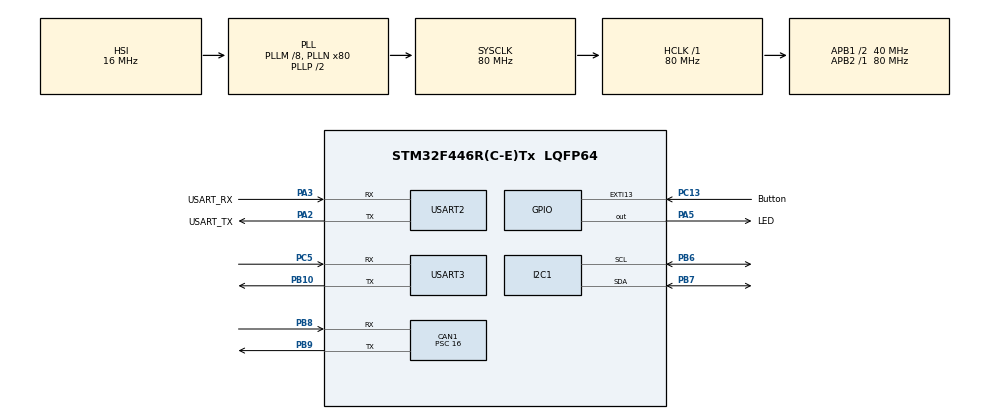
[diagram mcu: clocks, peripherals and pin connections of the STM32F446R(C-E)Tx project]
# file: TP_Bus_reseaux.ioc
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CAN1.BS1=CAN_BS1_2TQ
CAN1.BS2=CAN_BS2_2TQ
CAN1.CalculateBaudRate=500000
CAN1.CalculateTimeBit=2000
CAN1.CalculateTimeQuantum=400.0
CAN1.Prescaler=16
Dma.Request0=USART3_RX
Dma.USART3_RX.0.Direction=DMA_PERIPH_TO_MEMORY
Dma.USART3_RX.0.FIFOMode=DMA_FIFOMODE_DISABLE
Dma.USART3_RX.0.Instance=DMA1_Stream1
Dma.USART3_RX.0.MemDataAlignment=DMA_MDATAALIGN_BYTE
Dma.USART3_RX.0.MemInc=DMA_MINC_ENABLE
Dma.USART3_RX.0.Mode=DMA_NORMAL
Dma.USART3_RX.0.PeriphDataAlignment=DMA_PDATAALIGN_BYTE
Dma.USART3_RX.0.PeriphInc=DMA_PINC_DISABLE
Dma.USART3_RX.0.Priority=DMA_PRIORITY_LOW
Mcu.Family=STM32F4
Mcu.Name=STM32F446R(C-E)Tx
Mcu.Package=LQFP64
NVIC.DMA1_Stream1_IRQn=true\:0\:0\:false\:false\:true\:false\:true\:true
NVIC.PriorityGroup=NVIC_PRIORITYGROUP_0
NVIC.TIM8_UP_TIM13_IRQn=true\:0\:0\:false\:false\:true\:true\:true\:true
PA13.GPIO_Label=TMS
PA13.Mode=Serial_Wire
PA13.Signal=SYS_JTMS-SWDIO
PA14.GPIO_Label=TCK
PA14.Mode=Serial_Wire
PA14.Signal=SYS_JTCK-SWCLK
PA2.GPIO_Label=USART_TX
PA2.Mode=Asynchronous
PA2.Signal=USART2_TX
PA3.GPIO_Label=USART_RX
PA3.Mode=Asynchronous
PA3.Signal=USART2_RX
PA5.GPIO_Label=LED
PA5.Signal=GPIO_Output
PB10.Mode=Asynchronous
PB10.Signal=USART3_TX
PB3.GPIO_Label=SWO
PB3.Signal=SYS_JTDO-SWO
PB6.Mode=I2C
PB6.Signal=I2C1_SCL
PB7.Mode=I2C
PB7.Signal=I2C1_SDA
PB8.Mode=CAN_Activate
PB8.Signal=CAN1_RX
PB9.Mode=CAN_Activate
PB9.Signal=CAN1_TX
PC13.GPIO_Label=Button
PC13.GPIO_ModeDefaultEXTI=GPIO_MODE_IT_FALLING
PC13.Signal=GPXTI13
PC14-OSC32_IN.Mode=LSE-External-Oscillator
PC14-OSC32_IN.Signal=RCC_OSC32_IN
PC15-OSC32_OUT.Mode=LSE-External-Oscillator
PC15-OSC32_OUT.Signal=RCC_OSC32_OUT
PC5.Mode=Asynchronous
PC5.Signal=USART3_RX
PH0-OSC_IN.Mode=HSE-External-Oscillator
PH0-OSC_IN.Signal=RCC_OSC_IN
PH1-OSC_OUT.Mode=HSE-External-Oscillator
PH1-OSC_OUT.Signal=RCC_OSC_OUT
ProjectManager.HeapSize=0x200
ProjectManager.StackSize=0x400
ProjectManager.TargetToolchain=STM32CubeIDE
RCC.48MHZClocksFreq_Value=84000000
RCC.AHBFreq_Value=80000000
RCC.APB1CLKDivider=RCC_HCLK_DIV2
RCC.APB1Freq_Value=40000000
RCC.APB1TimFreq_Value=80000000
RCC.APB2Freq_Value=80000000
RCC.APB2TimFreq_Value=80000000
RCC.CortexFreq_Value=80000000
RCC.FLatency-AdvancedSettings=FLASH_LATENCY_2
RCC.HCLKFreq_Value=80000000
RCC.HSE_VALUE=8000000
RCC.HSI_VALUE=16000000
RCC.PLLM=8
RCC.PLLN=80
RCC.SYSCLKFreq_VALUE=80000000
RCC.SYSCLKSource=RCC_SYSCLKSOURCE_PLLCLK
RCC.USBFreq_Value=80000000
RCC.VCOOutputFreq_Value=160000000
TIM13.Period=8000
TIM13.Prescaler=9999
USART2.VirtualMode=VM_ASYNC
USART3.VirtualMode=VM_ASYNC
VP_TIM13_VS_ClockSourceINT.Mode=Enable_Timer
board=NUCLEO-F446RE

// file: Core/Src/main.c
/* USER CODE BEGIN Header */
/**
 ******************************************************************************
 * @file           : main.c
 * @brief          : Main program body
 ******************************************************************************
 * @attention
 *
 * Copyright (c) 2022 STMicroelectronics.
 * All rights reserved.
 *
 * This software is licensed under terms that can be found in the LICENSE file
 * in the root directory of this software component.
 * If no LICENSE file comes with this software, it is provided AS-IS.
 *
 ******************************************************************************
 */
/* USER CODE END Header */
#include "main.h"

/* USER CODE BEGIN Includes */
#include "stdio.h"
#include "stdlib.h"
#include "string.h"

#include "BMP280.h"	//Importe librarie pour contrôler le capteur
/* USER CODE END Includes */

/* USER CODE BEGIN PD */
#define SIZE_REQUETE 10
#define ID_MESSAGE_CAN 0x61 //two valid values 0x60 (manual mode) 0x61 (angle mode)
/* USER CODE END PD */

CAN_HandleTypeDef hcan1;

I2C_HandleTypeDef hi2c1;

TIM_HandleTypeDef htim13;

UART_HandleTypeDef huart2;
UART_HandleTypeDef huart3;
DMA_HandleTypeDef hdma_usart3_rx;

/* USER CODE BEGIN PV */
uint8_t data[6];
uint8_t REG_ID = 0xD0;

//Variables pour calibration
uint16_t dig_T1;
int16_t dig_T2;
int16_t dig_T3;
uint16_t dig_P1;
int16_t dig_P2;
int16_t dig_P3;
int16_t dig_P4;
int16_t dig_P5;
int16_t dig_P6;
int16_t dig_P7;
int16_t dig_P8;
int16_t dig_P9;

//variables reception raspberry
uint8_t Rx_rasp_to_nucleo = 1;
char requete[SIZE_REQUETE] = {'\0'};
int flag = 0;

//Variables reception Rx UART1
uint8_t Rx_byte;
char Rx_data[SIZE_REQUETE] = {'\0'};
int int_temp, dec_temp;
uint8_t Rx_indx = 0;
BMP280_U32_t send_temp, send_press; //valeurs a envoyer quand la raspberry demande un request

char send_t_1[2];
char send_t_2[2];

char send_p[2];

char t_display [10];
char p_display [10];

////Structure Header bus CAN
CAN_TxHeaderTypeDef pHeader;
uint8_t aData[2]= {0x01,0x00};
uint32_t pTxMailbox;
int incr = 0;

/* USER CODE END PV */

void SystemClock_Config(void);
static void MX_GPIO_Init(void);
static void MX_DMA_Init(void);
static void MX_USART2_UART_Init(void);
static void MX_CAN1_Init(void);
static void MX_I2C1_Init(void);
static void MX_USART3_UART_Init(void);
static void MX_TIM13_Init(void);

/* USER CODE BEGIN 0 */
void configBMP280(){
	uint8_t pData[2];
	pData[0] = 0xF4; // @ du ctrl_meas
	pData[1] = 0x57; //config mode normal, oversampling pressure x16 et temp x2
	HAL_I2C_Master_Transmit(&hi2c1, addr_BMP280, pData, 2, HAL_MAX_DELAY);
	HAL_I2C_Master_Receive(&hi2c1, addr_BMP280, &data[0], 6, HAL_MAX_DELAY);
	printf("la configuration est faite et la nouvelle valeur du registre est : %x\r\n", data[0]);

}

void id_BMP280(){
	HAL_I2C_Master_Transmit(&hi2c1, addr_BMP280, &REG_ID, 1, HAL_MAX_DELAY);
	HAL_I2C_Master_Receive(&hi2c1, addr_BMP280, &data[0], 6, HAL_MAX_DELAY);
	if(data[0]==0x58){
		printf("Le composant est le BMP280 et son id est : %x\r\n", data[0]);
	}
	else{
		printf("Le composant n'est pas reconnu");
	}
}

void etalonnageBMP280(){
	// Lecture des «trimming parameters»
	uint8_t calibration[26]; //tableau des variables
	uint8_t REG_trimming_parameter = 0x88; //premier address
	//int i = 0;  //variable d'itération
	//	for (i = 0; i < sizeof(REG_trimming_parameter); ++i) {
	//		REG_trimming_parameter[i] = 0x88 + i;
	//		printf("register: %x \r\n",REG_trimming_parameter[i]);
	//	}
	HAL_I2C_Master_Transmit(&hi2c1, addr_BMP280, &REG_trimming_parameter, 1, HAL_MAX_DELAY);
	HAL_I2C_Master_Receive(&hi2c1, addr_BMP280, calibration, 26, HAL_MAX_DELAY);

	//	for ( i = 0; i < 25; ++i) {
	//		printf("Valeur premiere addr: %x\r\n",calibration[i]);
	//	}
	dig_T1 = (uint16_t)calibration[1] << 8 | calibration[0];
	dig_T2 = (int16_t)calibration[3] << 8 | calibration[2];
	dig_T3 = (int16_t)calibration[5] << 8 | calibration[4];
	dig_P1 = (uint16_t)calibration[7] << 8 | calibration[6];
	dig_P2 = (int16_t)calibration[9] << 8 | calibration[8];
	dig_P3 = (int16_t)calibration[11] << 8 | calibration[10];
	dig_P4 = (int16_t)calibration[13] << 8 | calibration[12];
	dig_P5 = (int16_t)calibration[15] << 8 | calibration[14];
	dig_P6 = (int16_t)calibration[17] << 8 | calibration[16];
	dig_P7 = (int16_t)calibration[19] << 8 | calibration[18];
	dig_P8 = (int16_t)calibration[21] << 8 | calibration[20];
	dig_P9 = (int16_t)calibration[23] << 8 | calibration[22];
	//dig_T1 = (uint16_t)calibration[1] << 8 | calibration[0];
}

//==============Compensation formula in 32 bit fixed point
// Returns temperature in DegC, resolution is 0.01 DegC. Output value of “5123” equals 51.23 DegC.
// t_fine carries fine temperature as global value
BMP280_S32_t t_fine;
BMP280_S32_t bmp280_compensate_T_int32(BMP280_S32_t adc_T)
{
	BMP280_S32_t var1, var2, T;
	var1 = ((((adc_T>>3) - ((BMP280_S32_t)dig_T1<<1))) * ((BMP280_S32_t)dig_T2)) >> 11;
	var2 = (((((adc_T>>4) - ((BMP280_S32_t)dig_T1)) * ((adc_T>>4) - ((BMP280_S32_t)dig_T1))) >> 12) *
			((BMP280_S32_t)dig_T3)) >> 14;
	t_fine = var1 + var2;
	T = (t_fine * 5 + 128) >> 8;
	return T;
}

// Returns pressure in Pa as unsigned 32 bit integer. Output value of “96386” equals 96386 Pa = 963.86 hPa
BMP280_U32_t bmp280_compensate_P_int32(BMP280_S32_t adc_P)
{
	BMP280_S32_t var1, var2;
	BMP280_U32_t p;
	var1 = (((BMP280_S32_t)t_fine)>>1) - (BMP280_S32_t)64000;
	var2 = (((var1>>2) * (var1>>2)) >> 11 ) * ((BMP280_S32_t)dig_P6);
	var2 = var2 + ((var1*((BMP280_S32_t)dig_P5))<<1);
	var2 = (var2>>2)+(((BMP280_S32_t)dig_P4)<<16);
	var1 = (((dig_P3 * (((var1>>2) * (var1>>2)) >> 13 )) >> 3) + ((((BMP280_S32_t)dig_P2) * var1)>>1))>>18;
	var1 =((((32768+var1))*((BMP280_S32_t)dig_P1))>>15);
	if (var1 == 0)
	{
		return 0; // avoid exception caused by division by zero
	}
	p = (((BMP280_U32_t)(((BMP280_S32_t)1048576)-adc_P)-(var2>>12)))*3125;
	if (p < 0x80000000)
	{
		p = (p << 1) / ((BMP280_U32_t)var1);
	}
	else
	{
		p = (p / (BMP280_U32_t)var1) * 2;
	}
	var1 = (((BMP280_S32_t)dig_P9) * ((BMP280_S32_t)(((p>>3) * (p>>3))>>13)))>>12;
	var2 = (((BMP280_S32_t)(p>>2)) * ((BMP280_S32_t)dig_P8))>>13;
	p = (BMP280_U32_t)((BMP280_S32_t)p + ((var1 + var2 + dig_P7) >> 4));
	return p;
}

BMP280_S32_t read_temp()
{
	uint8_t addr_temp_press = 0xF7;

	uint8_t data_temp_press[6];
	uint32_t temperature;
	BMP280_S32_t temp_compensation;

	HAL_I2C_Master_Transmit(&hi2c1, addr_BMP280, &addr_temp_press, 1, HAL_MAX_DELAY);
	HAL_I2C_Master_Receive(&hi2c1, addr_BMP280, data_temp_press, 6, HAL_MAX_DELAY);

	temperature = (data_temp_press[3]<<12)|(data_temp_press[4]<<4)|(data_temp_press[5]>>4);

	temp_compensation = bmp280_compensate_T_int32(temperature);
	//printf("T=+%2d.%2d_C \r\n",(int)(temp_compensation/100),temp_compensation%100);
	return temp_compensation;
}
BMP280_U32_t read_press()
{
	uint8_t addr_temp_press = 0xF7;
	uint8_t data_temp_press[6];
	uint32_t pressure;
	BMP280_U32_t press_compensation;

	HAL_I2C_Master_Transmit(&hi2c1, addr_BMP280, &addr_temp_press, 1, HAL_MAX_DELAY);
	HAL_I2C_Master_Receive(&hi2c1, addr_BMP280, data_temp_press, 6, HAL_MAX_DELAY);

	pressure = (data_temp_press[0]<<12)|(data_temp_press[1]<<4)|(data_temp_press[2]>>4);
	press_compensation=bmp280_compensate_P_int32(pressure);
	printf("P=%10dPa \r\n", (int)(press_compensation/100));
	return press_compensation;
}

void HAL_UART_RxCpltCallback(UART_HandleTypeDef *huart)
{
	if (huart->Instance == USART3) { // Current UART
		Rx_data[Rx_indx++] = Rx_byte;    // Add data to Rx_Buffer
	}

	if (strcmp(Rx_data,"GET_T") == 0)
	{
		//send_temp = read_temp();
		int_temp = send_temp/100;
		dec_temp = send_temp % 100;
		sprintf(send_t_1, "%d", int_temp);
		sprintf(send_t_2, "%d", dec_temp);
		strcat(t_display, "T=+");
		strcat(p_display, ".");
		strcat(t_display, strcat(send_t_1,strcat(p_display,strcat(send_t_2,"_C"))));
		printf("T=+%d.%d_C \r\n",int_temp, dec_temp);
		HAL_UART_Transmit(&huart3, (uint8_t*)&t_display, strlen(t_display), HAL_MAX_DELAY);
		memset(Rx_data, 0, SIZE_REQUETE);
		Rx_indx = 0;
	}
	else if (strcmp(Rx_data,"GET_P") == 0)
	{
		HAL_UART_Transmit(&huart3, (uint8_t*)&Rx_data, strlen(Rx_data), HAL_MAX_DELAY);
		memset(Rx_data, 0, SIZE_REQUETE);
		Rx_indx = 0;
	}
	else if (strcmp(Rx_data,"GET_K") == 0)
	{
		HAL_UART_Transmit(&huart3, (uint8_t*)&Rx_data, strlen(Rx_data), HAL_MAX_DELAY);
		memset(Rx_data, 0, SIZE_REQUETE);
		Rx_indx = 0;
	}
	else if (strcmp(Rx_data,"GET_A") == 0)
	{
		HAL_UART_Transmit(&huart3, (uint8_t*)&Rx_data, strlen(Rx_data), HAL_MAX_DELAY);
		memset(Rx_data, 0, SIZE_REQUETE);
		Rx_indx = 0;
	}
	else if (strcmp(Rx_data,"SET_K") == 0)
	{
		HAL_UART_Transmit(&huart3, (uint8_t*)&Rx_data, strlen(Rx_data), HAL_MAX_DELAY);
		memset(Rx_data, 0, SIZE_REQUETE);
		Rx_indx = 0;
	}
	HAL_UART_Receive_DMA(&huart3, &Rx_byte, 1);
}

void HAL_TIM_PeriodElapsedCallback(TIM_HandleTypeDef* htim){
	if (htim->Instance == TIM13)
	{

		HAL_GPIO_TogglePin(LED_GPIO_Port, LED_Pin);
		//		if(incr==1){
		send_temp = read_temp();
		printf("T=+%2d.%2d_C \r\n",(int)(send_temp/100),send_temp%100);
		int_temp = (send_temp/100)*10;
		aData[1]=0x01;
		aData[0]=int_temp;
		incr =0;
		//		}
		//		else{
		////			aData[1] = 0x00;
		////			aData[0] = 0x5A;
		//		}
		HAL_CAN_AddTxMessage(&hcan1, &pHeader, aData, &pTxMailbox);
		incr = 1;
	}
}

void config_CAN(){
	//CAN configuration
	aData[0] = 0x00;
	aData[1] = 0x00;
	pHeader.StdId = ID_MESSAGE_CAN;
	//pHeader.ExtId =0x000;
	pHeader.IDE = CAN_ID_STD;
	pHeader.RTR = CAN_RTR_DATA;
	pHeader.DLC = 2;
	pHeader.TransmitGlobalTime = DISABLE;
}

void config_CAN_set0(){
	//CAN configuration
	pHeader.StdId = 0x62;
	//pHeader.ExtId =0x000;
	pHeader.IDE = CAN_ID_STD;
	pHeader.RTR = CAN_RTR_DATA;
	pHeader.DLC = 2;
	pHeader.TransmitGlobalTime = DISABLE;
}
/* USER CODE END 0 */

int main(void)
{

	/* MCU Configuration--------------------------------------------------------*/

	/* Reset of all peripherals, Initializes the Flash interface and the Systick. */
	HAL_Init();

	/* Configure the system clock */
	SystemClock_Config();

	/* Initialize all configured peripherals */
	MX_GPIO_Init();
	MX_DMA_Init();
	MX_USART2_UART_Init();
	MX_CAN1_Init();
	MX_I2C1_Init();
	MX_USART3_UART_Init();
	MX_TIM13_Init();
	/* USER CODE BEGIN 2 */

	//Configuration du capteur BMP280
	configBMP280();

	//Calibration || etalonnage
	printf("Etalonnage\r\n");
	etalonnageBMP280();

	read_temp();

	// On active UART avec le DMA, on va recevoir un seul byte
	HAL_UART_Receive_DMA(&huart3, &Rx_byte, 1); //On

	//init Timer 13
	HAL_TIM_Base_Start_IT(&htim13);
	HAL_CAN_Start(&hcan1); //init bus CAN

	//config_CAN_set0();

	config_CAN(); //Fonction pour faire la conf du bus CAN
	HAL_CAN_AddTxMessage(&hcan1, &pHeader, aData, &pTxMailbox);
	/* USER CODE END 2 */

	/* Infinite loop */
	/* USER CODE BEGIN WHILE */
	while (1)
	{
		//		if (HAL_UART_Receive(&huart3, &Rx_rasp_to_nucleo, 1, 1000)==HAL_OK) {
		//
		//			if (Rx_rasp_to_nucleo==0x0D) {
		////				printf("Data = %s \r\n", requete);
		//				flag=0;
		//				if (strcmp(&requete,"GET_T")==0) {
		////					printf("ok = GET_T \r\n");
		//					read_temp();
		//					memset(requete, 0, SIZE_REQUETE);
		//				}else if (strcmp(&requete,"GET_P")==0) {
		////					printf("ok = GET_P \r\n");
		//					read_press();
		//					memset(requete, 0, SIZE_REQUETE);
		//				}
		//				else if (strcmp(&requete,"GET_K")==0) {
		////					printf("ok = GET_K \r\n");
		//					memset(requete, 0, SIZE_REQUETE);
		//				}
		//				else if (strcmp(&requete,"GET_A")==0){
		////					printf("ok = GET_A \r\n");
		//					memset(requete, 0, SIZE_REQUETE);
		//				}
		//				else if (strcmp(&requete,"GET_K=1234")==0){
		////					printf("ok = GET_K=1234 \r\n");
		//					memset(requete, 0, SIZE_REQUETE);
		//				}
		//				else{
		//					printf("Requête non reconnue \r\n");
		//					memset(requete, 0, SIZE_REQUETE);
		//				}
		//			}else {
		//				if (flag > sizeof(requete)-1) {
		//					flag=0;
		//					memset(requete, 0, SIZE_REQUETE);
		//				}
		//				requete[flag]=Rx_rasp_to_nucleo;
		//				flag++;
		//				//				if (flag >= 5) {
		//				//					flag=0;
		//				//					printf("Requete trop longue \r\n");
		//				//				}
		//				//				requete[flag]=Rx_rasp_to_nucleo;
		//				//				flag++;
		//			}
		//			//printf("ok");
		//			//			HAL_GPIO_TogglePin(LD2_GPIO_Port, LD2_Pin);
		//			//			HAL_Delay(500);
		//
		//		}

		//		printf("Data = %x", Rx_rasp_to_nucleo);

		/* USER CODE END WHILE */

	}
}

void SystemClock_Config(void)
{
	RCC_OscInitTypeDef RCC_OscInitStruct = {0};
	RCC_ClkInitTypeDef RCC_ClkInitStruct = {0};

	/** Configure the main internal regulator output voltage
	 */
	__HAL_RCC_PWR_CLK_ENABLE();
	__HAL_PWR_VOLTAGESCALING_CONFIG(PWR_REGULATOR_VOLTAGE_SCALE3);

	/** Initializes the RCC Oscillators according to the specified parameters
	 * in the RCC_OscInitTypeDef structure.
	 */
	RCC_OscInitStruct.OscillatorType = RCC_OSCILLATORTYPE_HSI;
	RCC_OscInitStruct.HSIState = RCC_HSI_ON;
	RCC_OscInitStruct.HSICalibrationValue = RCC_HSICALIBRATION_DEFAULT;
	RCC_OscInitStruct.PLL.PLLState = RCC_PLL_ON;
	RCC_OscInitStruct.PLL.PLLSource = RCC_PLLSOURCE_HSI;
	RCC_OscInitStruct.PLL.PLLM = 8;
	RCC_OscInitStruct.PLL.PLLN = 80;
	RCC_OscInitStruct.PLL.PLLP = RCC_PLLP_DIV2;
	RCC_OscInitStruct.PLL.PLLQ = 2;
	RCC_OscInitStruct.PLL.PLLR = 2;
	if (HAL_RCC_OscConfig(&RCC_OscInitStruct) != HAL_OK)
	{
		Error_Handler();
	}

	/** Initializes the CPU, AHB and APB buses clocks
	 */
	RCC_ClkInitStruct.ClockType = RCC_CLOCKTYPE_HCLK|RCC_CLOCKTYPE_SYSCLK
			|RCC_CLOCKTYPE_PCLK1|RCC_CLOCKTYPE_PCLK2;
	RCC_ClkInitStruct.SYSCLKSource = RCC_SYSCLKSOURCE_PLLCLK;
	RCC_ClkInitStruct.AHBCLKDivider = RCC_SYSCLK_DIV1;
	RCC_ClkInitStruct.APB1CLKDivider = RCC_HCLK_DIV2;
	RCC_ClkInitStruct.APB2CLKDivider = RCC_HCLK_DIV1;

	if (HAL_RCC_ClockConfig(&RCC_ClkInitStruct, FLASH_LATENCY_2) != HAL_OK)
	{
		Error_Handler();
	}
}

static void MX_CAN1_Init(void)
{

	hcan1.Instance = CAN1;
	hcan1.Init.Prescaler = 16;
	hcan1.Init.Mode = CAN_MODE_NORMAL;
	hcan1.Init.SyncJumpWidth = CAN_SJW_1TQ;
	hcan1.Init.TimeSeg1 = CAN_BS1_2TQ;
	hcan1.Init.TimeSeg2 = CAN_BS2_2TQ;
	hcan1.Init.TimeTriggeredMode = DISABLE;
	hcan1.Init.AutoBusOff = DISABLE;
	hcan1.Init.AutoWakeUp = DISABLE;
	hcan1.Init.AutoRetransmission = DISABLE;
	hcan1.Init.ReceiveFifoLocked = DISABLE;
	hcan1.Init.TransmitFifoPriority = DISABLE;
	if (HAL_CAN_Init(&hcan1) != HAL_OK)
	{
		Error_Handler();
	}

}

static void MX_I2C1_Init(void)
{

	hi2c1.Instance = I2C1;
	hi2c1.Init.ClockSpeed = 100000;
	hi2c1.Init.DutyCycle = I2C_DUTYCYCLE_2;
	hi2c1.Init.OwnAddress1 = 0;
	hi2c1.Init.AddressingMode = I2C_ADDRESSINGMODE_7BIT;
	hi2c1.Init.DualAddressMode = I2C_DUALADDRESS_DISABLE;
	hi2c1.Init.OwnAddress2 = 0;
	hi2c1.Init.GeneralCallMode = I2C_GENERALCALL_DISABLE;
	hi2c1.Init.NoStretchMode = I2C_NOSTRETCH_DISABLE;
	if (HAL_I2C_Init(&hi2c1) != HAL_OK)
	{
		Error_Handler();
	}

}

static void MX_TIM13_Init(void)
{

	htim13.Instance = TIM13;
	htim13.Init.Prescaler = 9999;
	htim13.Init.CounterMode = TIM_COUNTERMODE_UP;
	htim13.Init.Period = 8000;
	htim13.Init.ClockDivision = TIM_CLOCKDIVISION_DIV1;
	htim13.Init.AutoReloadPreload = TIM_AUTORELOAD_PRELOAD_DISABLE;
	if (HAL_TIM_Base_Init(&htim13) != HAL_OK)
	{
		Error_Handler();
	}

}

static void MX_USART2_UART_Init(void)
{

	huart2.Instance = USART2;
	huart2.Init.BaudRate = 115200;
	huart2.Init.WordLength = UART_WORDLENGTH_8B;
	huart2.Init.StopBits = UART_STOPBITS_1;
	huart2.Init.Parity = UART_PARITY_NONE;
	huart2.Init.Mode = UART_MODE_TX_RX;
	huart2.Init.HwFlowCtl = UART_HWCONTROL_NONE;
	huart2.Init.OverSampling = UART_OVERSAMPLING_16;
	if (HAL_UART_Init(&huart2) != HAL_OK)
	{
		Error_Handler();
	}

}

static void MX_USART3_UART_Init(void)
{

	huart3.Instance = USART3;
	huart3.Init.BaudRate = 115200;
	huart3.Init.WordLength = UART_WORDLENGTH_8B;
	huart3.Init.StopBits = UART_STOPBITS_1;
	huart3.Init.Parity = UART_PARITY_NONE;
	huart3.Init.Mode = UART_MODE_TX_RX;
	huart3.Init.HwFlowCtl = UART_HWCONTROL_NONE;
	huart3.Init.OverSampling = UART_OVERSAMPLING_16;
	if (HAL_UART_Init(&huart3) != HAL_OK)
	{
		Error_Handler();
	}

}

static void MX_DMA_Init(void)
{

	/* DMA controller clock enable */
	__HAL_RCC_DMA1_CLK_ENABLE();

	/* DMA interrupt init */
	/* DMA1_Stream1_IRQn interrupt configuration */
	HAL_NVIC_SetPriority(DMA1_Stream1_IRQn, 0, 0);
	HAL_NVIC_EnableIRQ(DMA1_Stream1_IRQn);

}

static void MX_GPIO_Init(void)
{
	GPIO_InitTypeDef GPIO_InitStruct = {0};

	/* GPIO Ports Clock Enable */
	__HAL_RCC_GPIOC_CLK_ENABLE();
	__HAL_RCC_GPIOH_CLK_ENABLE();
	__HAL_RCC_GPIOA_CLK_ENABLE();
	__HAL_RCC_GPIOB_CLK_ENABLE();

	/*Configure GPIO pin Output Level */
	HAL_GPIO_WritePin(LED_GPIO_Port, LED_Pin, GPIO_PIN_RESET);

	/*Configure GPIO pin : Button_Pin */
	GPIO_InitStruct.Pin = Button_Pin;
	GPIO_InitStruct.Mode = GPIO_MODE_IT_FALLING;
	GPIO_InitStruct.Pull = GPIO_NOPULL;
	HAL_GPIO_Init(Button_GPIO_Port, &GPIO_InitStruct);

	/*Configure GPIO pin : LED_Pin */
	GPIO_InitStruct.Pin = LED_Pin;
	GPIO_InitStruct.Mode = GPIO_MODE_OUTPUT_PP;
	GPIO_InitStruct.Pull = GPIO_NOPULL;
	GPIO_InitStruct.Speed = GPIO_SPEED_FREQ_LOW;
	HAL_GPIO_Init(LED_GPIO_Port, &GPIO_InitStruct);

}

void Error_Handler(void)
{
	__disable_irq();
	while (1)
	{
	}
}
